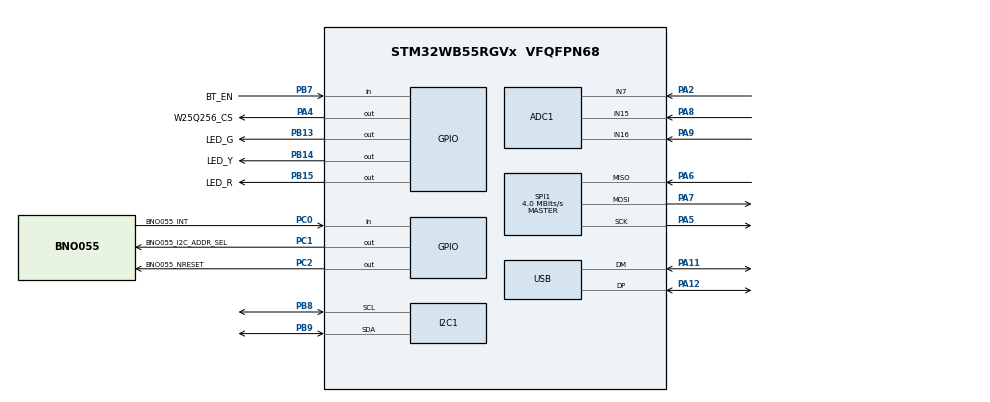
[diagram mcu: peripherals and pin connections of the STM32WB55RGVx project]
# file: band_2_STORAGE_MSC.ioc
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ADC1.Channel-2\#ChannelRegularConversion=ADC_CHANNEL_7
ADC1.NbrOfConversionFlag=1
ADC1.OffsetNumber-2\#ChannelRegularConversion=ADC_OFFSET_NONE
ADC1.Rank-2\#ChannelRegularConversion=1
ADC1.SamplingTime-2\#ChannelRegularConversion=ADC_SAMPLETIME_2CYCLES_5
ADC1.master=1
I2C1.Timing=0x10B17DB5
Mcu.Family=STM32WB
Mcu.Name=STM32WB55RGVx
Mcu.Package=VFQFPN68
NVIC.HSEM_IRQn=true\:0\:0\:false\:false\:true\:false\:true\:true
NVIC.IPCC_C1_RX_IRQn=true\:0\:0\:false\:false\:true\:true\:true\:true
NVIC.IPCC_C1_TX_IRQn=true\:0\:0\:false\:false\:true\:true\:true\:true
NVIC.PriorityGroup=NVIC_PRIORITYGROUP_4
NVIC.RTC_WKUP_IRQn=true\:0\:0\:false\:false\:true\:true\:true\:true
NVIC.USB_LP_IRQn=true\:0\:0\:false\:false\:true\:false\:true\:true
OSC_IN.Mode=HSE-External-Oscillator
OSC_IN.Signal=RCC_OSC_IN
OSC_OUT.Mode=HSE-External-Oscillator
OSC_OUT.Signal=RCC_OSC_OUT
PA11.Mode=Device
PA11.Signal=USB_DM
PA12.Mode=Device
PA12.Signal=USB_DP
PA13.Mode=Serial_Wire
PA13.Signal=SYS_JTMS-SWDIO
PA14.Mode=Serial_Wire
PA14.Signal=SYS_JTCK-SWCLK
PA2.Signal=ADCx_IN7
PA3.Signal=ADCx_IN8
PA4.GPIO_Label=W25Q256_CS
PA4.GPIO_Speed=GPIO_SPEED_FREQ_LOW
PA4.PinState=GPIO_PIN_SET
PA4.Signal=GPIO_Output
PA5.Mode=Full_Duplex_Master
PA5.Signal=SPI1_SCK
PA6.Mode=Full_Duplex_Master
PA6.Signal=SPI1_MISO
PA7.Mode=Full_Duplex_Master
PA7.Signal=SPI1_MOSI
PA8.Signal=ADCx_IN15
PA9.Signal=ADCx_IN16
PB13.GPIO_Label=LED_G
PB13.GPIO_Speed=GPIO_SPEED_FREQ_HIGH
PB13.PinState=GPIO_PIN_RESET
PB13.Signal=GPIO_Output
PB14.GPIO_Label=LED_Y
PB14.GPIO_Speed=GPIO_SPEED_FREQ_HIGH
PB14.PinState=GPIO_PIN_RESET
PB14.Signal=GPIO_Output
PB15.GPIO_Label=LED_R
PB15.GPIO_Speed=GPIO_SPEED_FREQ_HIGH
PB15.PinState=GPIO_PIN_SET
PB15.Signal=GPIO_Output
PB7.GPIO_Label=BT_EN
PB7.GPIO_PuPd=GPIO_NOPULL
PB7.Signal=GPIO_Input
PB8.Mode=I2C
PB8.Signal=I2C1_SCL
PB9.Mode=I2C
PB9.Signal=I2C1_SDA
PC0.GPIO_Label=BNO055_INT
PC0.Signal=GPIO_Input
PC1.GPIO_Label=BNO055_I2C_ADDR_SEL
PC1.Signal=GPIO_Output
PC12.Mode=SYS_WakeUp2
PC12.Signal=SYS_WKUP3
PC14-OSC32_IN.Mode=LSE-External-Oscillator
PC14-OSC32_IN.Signal=RCC_OSC32_IN
PC15-OSC32_OUT.Mode=LSE-External-Oscillator
PC15-OSC32_OUT.Signal=RCC_OSC32_OUT
PC2.GPIO_Label=BNO055_NRESET
PC2.PinState=GPIO_PIN_SET
PC2.Signal=GPIO_Output
ProjectManager.HeapSize=0x1000
ProjectManager.StackSize=0x400
ProjectManager.TargetToolchain=MDK-ARM V5
RCC.ADCFreq_Value=48000000
RCC.AHB2CLKDivider=RCC_SYSCLK_DIV2
RCC.AHBFreq_Value=64000000
RCC.APB1Freq_Value=64000000
RCC.APB1TimFreq_Value=64000000
RCC.APB2Freq_Value=64000000
RCC.APB2TimFreq_Value=64000000
RCC.APB3Freq_Value=16000000
RCC.CK48CLockSelection=RCC_USBCLKSOURCE_HSI48
RCC.CortexFreq_Value=64000000
RCC.HCLKFreq_Value=64000000
RCC.HSE_VALUE=32000000
RCC.HSI48_VALUE=48000000
RCC.HSI_VALUE=16000000
RCC.PLLN=32
RCC.PLLSAI1N=24
RCC.RFWKPClockSelection=RCC_RFWKPCLKSOURCE_LSE
RCC.RTCClockSelection=RCC_RTCCLKSOURCE_LSE
RCC.SYSCLKFreq_VALUE=64000000
RCC.SYSCLKSource=RCC_SYSCLKSOURCE_PLLCLK
RCC.USBFreq_Value=48000000
RCC.VCOOutputFreq_Value=128000000
RF1.Mode=RF1_Activate
RF1.Signal=RF_RF1
SH.ADCx_IN15.0=ADC1_IN15,IN15-Single-Ended
SH.ADCx_IN16.0=ADC1_IN16,IN16-Single-Ended
SH.ADCx_IN7.0=ADC1_IN7,IN7-Single-Ended
SH.ADCx_IN8.0=ADC1_IN8
SPI1.BaudRatePrescaler=SPI_BAUDRATEPRESCALER_16
SPI1.CalculateBaudRate=4.0 MBits/s
SPI1.DataSize=SPI_DATASIZE_8BIT
SPI1.Direction=SPI_DIRECTION_2LINES
SPI1.Mode=SPI_MODE_MASTER
SPI1.VirtualType=VM_MASTER
STM32_WPAN.AD_TYPE_COMPLETE_LOCAL_NAME=band-STM32
STM32_WPAN.AD_TYPE_COMPLETE_LOCAL_NAME_LENGTH=11
STM32_WPAN.CFG_DEBUG_TRACE_UART=hw_uart1
STM32_WPAN.CFG_HW_USART1_ENABLED=1
STM32_WPAN.CFG_LSCLK_LSE=0
STM32_WPAN.CUSTOM_TEMPLATE=Enabled
STM32_WPAN.INCLUDE_AD_TYPE_COMPLETE_LOCAL_NAME=1
STM32_WPAN.NUMBER_OF_SERVICES=1
STM32_WPAN.PAIRING_PARAMETERS=OFF
STM32_WPAN.SERVICE1_CHAR1_GATT_NOTIFY_ATTRIBUTE_WRITE=\ 
STM32_WPAN.SERVICE1_CHAR1_GATT_NOTIFY_READ_REQ_AND_WAIT_FOR_APPL_RESP=\ 
STM32_WPAN.SERVICE1_CHAR1_GATT_NOTIFY_WRITE_REQ_AND_WAIT_FOR_APPL_RESP=\ 
STM32_WPAN.SERVICE1_CHAR1_LONG_NAME=myCharWrite
STM32_WPAN.SERVICE1_CHAR1_PROP_READ=CHAR_PROP_READ
STM32_WPAN.SERVICE1_CHAR1_SHORT_NAME=myCharWrite
STM32_WPAN.SERVICE1_LONG_NAME=mySVC
STM32_WPAN.SERVICE1_SHORT_NAME=mySVC
USB.battery_charging_enable=DISABLE
USB_DEVICE.CLASS_NAME_FS=MSC
USB_DEVICE.MSC_MEDIA_PACKET=4096
USB_DEVICE.VirtualMode=Msc
USB_DEVICE.VirtualModeFS=Msc_FS
VP_HSEM_VS_HSEM.Mode=HSEM_Activate
VP_IPCC_VS_IPCC.Mode=IPCC_Activate
VP_MEMORYMAP_VS_MEMORYMAP.Mode=CurAppReg
VP_RCC_LSE.Mode=CRS SYNC Source LSE
VP_RTC_VS_RTC_Activate.Mode=RTC_Enabled
VP_RTC_VS_RTC_WakeUp_intern.Mode=WakeUp
VP_SEQUENCER_VS_SEQUENCER.Mode=SEQUENCER_Enabled
VP_STM32_WPAN_VS_BLE_HOST.Mode=STM32_WPAN_Enabled
VP_TINY_LPM_VS_TINY_LPM.Mode=TINY_LPM_Enabled
VP_USB_DEVICE_VS_USB_DEVICE_MSC_FS.Mode=MSC_FS
board=custom

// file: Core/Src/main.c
/* USER CODE BEGIN Header */
/**
  ******************************************************************************
  * @file           : main.c
  * @brief          : Main program body
  ******************************************************************************
  * @attention
  *
  * Copyright (c) 2025 STMicroelectronics.
  * All rights reserved.
  *
  ******************************************************************************
  */
/* USER CODE END Header */
#include "main.h"
#include "adc.h"
#include "i2c.h"
#include "ipcc.h"
#include "rf.h"
#include "rtc.h"
#include "spi.h"
#include "usb_device.h"
#include "gpio.h"

/* USER CODE BEGIN Includes */
#include "W25Q.h"
/* USER CODE END Includes */

void SystemClock_Config(void);
void PeriphCommonClock_Config(void);
/* USER CODE BEGIN PFP */

/**
 * - erase 0x000000 sector
 * - writein "HelloFlash"
 * - read and compare
 * - light 1 always on = succeed
 * - light2 blink = fail
 */
void Flash_Test(void)
{
    uint8_t tx[16] = "HelloFlash";
    uint8_t rx[16] = {0};

// erase 4KB --If you want to see the formatted signal, do not erase 4K
    W25Q01_SectorErase4K(0);

    // write in 16 Byte
    W25Q01_PageProgram(0, tx, 16);

    // read
    W25Q01_ReadData(0, rx, 16);

    // compare
    if (memcmp(tx, rx, 16) == 0)
    {
			// success: upper green light will blink for once and stay bright
        HAL_GPIO_WritePin(GPIOB, LED_G_Pin, GPIO_PIN_RESET);
			  HAL_Delay(1000);
				HAL_GPIO_WritePin(GPIOB, LED_G_Pin, GPIO_PIN_SET);
			  HAL_Delay(1000);
			  HAL_GPIO_WritePin(GPIOB, LED_G_Pin, GPIO_PIN_RESET);

    }
    else
    {
			// fail: lower green light will blink
        while (1)
        {
            HAL_GPIO_TogglePin(GPIOB, LED_R_Pin);
            HAL_Delay(100);

        }
    }
}

/* USER CODE END PFP */

int main(void)
{

  /* MCU Configuration--------------------------------------------------------*/

  /* Reset of all peripherals, Initializes the Flash interface and the Systick. */
  HAL_Init();
  /* Config code for STM32_WPAN (HSE Tuning must be done before system clock configuration) */
  MX_APPE_Config();

  /* Configure the system clock */
  SystemClock_Config();

  /* Configure the peripherals common clocks */
  PeriphCommonClock_Config();

  /* IPCC initialisation */
  MX_IPCC_Init();

  /* Initialize all configured peripherals */
  MX_GPIO_Init();
  MX_ADC1_Init();
  MX_I2C1_Init();
  MX_SPI1_Init();
  MX_RTC_Init();
  MX_USB_Device_Init();
  MX_RF_Init();
  /* USER CODE BEGIN 2 */
  W25Q01_Init();
  Flash_Test();
  /* USER CODE END 2 */

  /* Init code for STM32_WPAN */
  MX_APPE_Init();

  /* Infinite loop */
  /* USER CODE BEGIN WHILE */
    HAL_Delay(1000);

    /* USER CODE END WHILE */
    MX_APPE_Process();

}

void SystemClock_Config(void)
{
  RCC_OscInitTypeDef RCC_OscInitStruct = {0};
  RCC_ClkInitTypeDef RCC_ClkInitStruct = {0};
  RCC_CRSInitTypeDef RCC_CRSInitStruct = {0};

  /** Configure LSE Drive Capability
  */
  HAL_PWR_EnableBkUpAccess();
  __HAL_RCC_LSEDRIVE_CONFIG(RCC_LSEDRIVE_MEDIUMHIGH);

  /** Configure the main internal regulator output voltage
  */
  __HAL_PWR_VOLTAGESCALING_CONFIG(PWR_REGULATOR_VOLTAGE_SCALE1);

  /** Initializes the RCC Oscillators according to the specified parameters
  * in the RCC_OscInitTypeDef structure.
  */
  RCC_OscInitStruct.OscillatorType = RCC_OSCILLATORTYPE_HSI48|RCC_OSCILLATORTYPE_HSI
                              |RCC_OSCILLATORTYPE_HSE|RCC_OSCILLATORTYPE_LSE
                              |RCC_OSCILLATORTYPE_MSI;
  RCC_OscInitStruct.HSEState = RCC_HSE_ON;
  RCC_OscInitStruct.LSEState = RCC_LSE_ON;
  RCC_OscInitStruct.HSIState = RCC_HSI_ON;
  RCC_OscInitStruct.MSIState = RCC_MSI_ON;
  RCC_OscInitStruct.HSI48State = RCC_HSI48_ON;
  RCC_OscInitStruct.HSICalibrationValue = RCC_HSICALIBRATION_DEFAULT;
  RCC_OscInitStruct.MSICalibrationValue = RCC_MSICALIBRATION_DEFAULT;
  RCC_OscInitStruct.MSIClockRange = RCC_MSIRANGE_6;
  RCC_OscInitStruct.PLL.PLLState = RCC_PLL_ON;
  RCC_OscInitStruct.PLL.PLLSource = RCC_PLLSOURCE_MSI;
  RCC_OscInitStruct.PLL.PLLM = RCC_PLLM_DIV1;
  RCC_OscInitStruct.PLL.PLLN = 32;
  RCC_OscInitStruct.PLL.PLLP = RCC_PLLP_DIV2;
  RCC_OscInitStruct.PLL.PLLR = RCC_PLLR_DIV2;
  RCC_OscInitStruct.PLL.PLLQ = RCC_PLLQ_DIV2;
  if (HAL_RCC_OscConfig(&RCC_OscInitStruct) != HAL_OK)
  {
    Error_Handler();
  }

  /** Configure the SYSCLKSource, HCLK, PCLK1 and PCLK2 clocks dividers
  */
  RCC_ClkInitStruct.ClockType = RCC_CLOCKTYPE_HCLK4|RCC_CLOCKTYPE_HCLK2
                              |RCC_CLOCKTYPE_HCLK|RCC_CLOCKTYPE_SYSCLK
                              |RCC_CLOCKTYPE_PCLK1|RCC_CLOCKTYPE_PCLK2;
  RCC_ClkInitStruct.SYSCLKSource = RCC_SYSCLKSOURCE_PLLCLK;
  RCC_ClkInitStruct.AHBCLKDivider = RCC_SYSCLK_DIV1;
  RCC_ClkInitStruct.APB1CLKDivider = RCC_HCLK_DIV1;
  RCC_ClkInitStruct.APB2CLKDivider = RCC_HCLK_DIV1;
  RCC_ClkInitStruct.AHBCLK2Divider = RCC_SYSCLK_DIV2;
  RCC_ClkInitStruct.AHBCLK4Divider = RCC_SYSCLK_DIV1;

  if (HAL_RCC_ClockConfig(&RCC_ClkInitStruct, FLASH_LATENCY_3) != HAL_OK)
  {
    Error_Handler();
  }

  /** Enable the SYSCFG APB clock
  */
  __HAL_RCC_CRS_CLK_ENABLE();

  /** Configures CRS
  */
  RCC_CRSInitStruct.Prescaler = RCC_CRS_SYNC_DIV1;
  RCC_CRSInitStruct.Source = RCC_CRS_SYNC_SOURCE_LSE;
  RCC_CRSInitStruct.Polarity = RCC_CRS_SYNC_POLARITY_RISING;
  RCC_CRSInitStruct.ReloadValue = __HAL_RCC_CRS_RELOADVALUE_CALCULATE(48000000,32768);
  RCC_CRSInitStruct.ErrorLimitValue = 34;
  RCC_CRSInitStruct.HSI48CalibrationValue = 32;

  HAL_RCCEx_CRSConfig(&RCC_CRSInitStruct);
}

void PeriphCommonClock_Config(void)
{
  RCC_PeriphCLKInitTypeDef PeriphClkInitStruct = {0};

  /** Initializes the peripherals clock
  */
  PeriphClkInitStruct.PeriphClockSelection = RCC_PERIPHCLK_SMPS|RCC_PERIPHCLK_RFWAKEUP;
  PeriphClkInitStruct.RFWakeUpClockSelection = RCC_RFWKPCLKSOURCE_LSE;
  PeriphClkInitStruct.SmpsClockSelection = RCC_SMPSCLKSOURCE_HSI;
  PeriphClkInitStruct.SmpsDivSelection = RCC_SMPSCLKDIV_RANGE1;

  if (HAL_RCCEx_PeriphCLKConfig(&PeriphClkInitStruct) != HAL_OK)
  {
    Error_Handler();
  }
}

void Error_Handler(void)
{
  __disable_irq();
  while (1)
  {
  }
}
